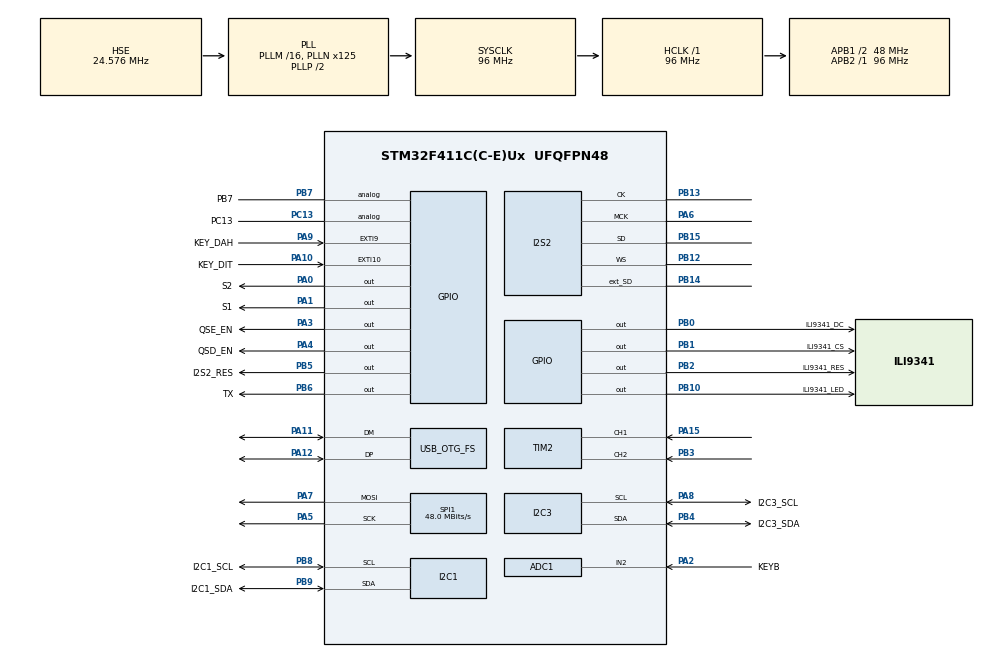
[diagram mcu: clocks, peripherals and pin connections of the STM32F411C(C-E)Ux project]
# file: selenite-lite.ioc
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ADC1.Channel-0\#ChannelRegularConversion=ADC_CHANNEL_2
ADC1.NbrOfConversionFlag=1
ADC1.Rank-0\#ChannelRegularConversion=1
ADC1.SamplingTime-0\#ChannelRegularConversion=ADC_SAMPLETIME_480CYCLES
ADC1.master=1
Dma.I2S2_EXT_RX.0.Direction=DMA_PERIPH_TO_MEMORY
Dma.I2S2_EXT_RX.0.FIFOMode=DMA_FIFOMODE_ENABLE
Dma.I2S2_EXT_RX.0.FIFOThreshold=DMA_FIFO_THRESHOLD_FULL
Dma.I2S2_EXT_RX.0.Instance=DMA1_Stream3
Dma.I2S2_EXT_RX.0.MemBurst=DMA_MBURST_INC8
Dma.I2S2_EXT_RX.0.MemDataAlignment=DMA_MDATAALIGN_HALFWORD
Dma.I2S2_EXT_RX.0.MemInc=DMA_MINC_ENABLE
Dma.I2S2_EXT_RX.0.Mode=DMA_CIRCULAR
Dma.I2S2_EXT_RX.0.PeriphBurst=DMA_PBURST_SINGLE
Dma.I2S2_EXT_RX.0.PeriphDataAlignment=DMA_PDATAALIGN_HALFWORD
Dma.I2S2_EXT_RX.0.PeriphInc=DMA_PINC_DISABLE
Dma.I2S2_EXT_RX.0.Priority=DMA_PRIORITY_VERY_HIGH
Dma.MEMTOMEM.3.Direction=DMA_MEMORY_TO_MEMORY
Dma.MEMTOMEM.3.FIFOMode=DMA_FIFOMODE_ENABLE
Dma.MEMTOMEM.3.FIFOThreshold=DMA_FIFO_THRESHOLD_FULL
Dma.MEMTOMEM.3.Instance=DMA2_Stream0
Dma.MEMTOMEM.3.MemBurst=DMA_MBURST_SINGLE
Dma.MEMTOMEM.3.MemDataAlignment=DMA_MDATAALIGN_WORD
Dma.MEMTOMEM.3.MemInc=DMA_MINC_ENABLE
Dma.MEMTOMEM.3.Mode=DMA_NORMAL
Dma.MEMTOMEM.3.PeriphBurst=DMA_PBURST_SINGLE
Dma.MEMTOMEM.3.PeriphDataAlignment=DMA_PDATAALIGN_WORD
Dma.MEMTOMEM.3.PeriphInc=DMA_PINC_ENABLE
Dma.MEMTOMEM.3.Priority=DMA_PRIORITY_LOW
Dma.Request0=I2S2_EXT_RX
Dma.Request1=SPI2_TX
Dma.Request2=SPI1_TX
Dma.Request3=MEMTOMEM
Dma.SPI1_TX.2.Direction=DMA_MEMORY_TO_PERIPH
Dma.SPI1_TX.2.FIFOMode=DMA_FIFOMODE_DISABLE
Dma.SPI1_TX.2.Instance=DMA2_Stream2
Dma.SPI1_TX.2.MemDataAlignment=DMA_MDATAALIGN_HALFWORD
Dma.SPI1_TX.2.MemInc=DMA_MINC_ENABLE
Dma.SPI1_TX.2.Mode=DMA_NORMAL
Dma.SPI1_TX.2.PeriphDataAlignment=DMA_PDATAALIGN_HALFWORD
Dma.SPI1_TX.2.PeriphInc=DMA_PINC_DISABLE
Dma.SPI1_TX.2.Priority=DMA_PRIORITY_LOW
Dma.SPI2_TX.1.Direction=DMA_MEMORY_TO_PERIPH
Dma.SPI2_TX.1.FIFOMode=DMA_FIFOMODE_ENABLE
Dma.SPI2_TX.1.FIFOThreshold=DMA_FIFO_THRESHOLD_FULL
Dma.SPI2_TX.1.Instance=DMA1_Stream4
Dma.SPI2_TX.1.MemBurst=DMA_MBURST_INC8
Dma.SPI2_TX.1.MemDataAlignment=DMA_MDATAALIGN_HALFWORD
Dma.SPI2_TX.1.MemInc=DMA_MINC_ENABLE
Dma.SPI2_TX.1.Mode=DMA_CIRCULAR
Dma.SPI2_TX.1.PeriphBurst=DMA_PBURST_SINGLE
Dma.SPI2_TX.1.PeriphDataAlignment=DMA_PDATAALIGN_HALFWORD
Dma.SPI2_TX.1.PeriphInc=DMA_PINC_DISABLE
Dma.SPI2_TX.1.Priority=DMA_PRIORITY_VERY_HIGH
I2S2.AudioFreq=I2S_AUDIOFREQ_96K
I2S2.ErrorAudioFreq=0.0 %
I2S2.FullDuplexMode=I2S_FULLDUPLEXMODE_ENABLE
I2S2.Instance=SPI$Index
I2S2.RealAudioFreq=96.0 KHz
I2S2.VirtualMode=I2S_MODE_MASTER
Mcu.Family=STM32F4
Mcu.Name=STM32F411C(C-E)Ux
Mcu.Package=UFQFPN48
NVIC.ADC_IRQn=true\:4\:0\:true\:false\:true\:true\:true\:true
NVIC.DMA1_Stream3_IRQn=true\:0\:0\:false\:false\:true\:false\:true\:true
NVIC.DMA1_Stream4_IRQn=true\:0\:0\:false\:false\:true\:false\:true\:true
NVIC.DMA2_Stream0_IRQn=true\:4\:0\:true\:false\:true\:true\:true\:true
NVIC.DMA2_Stream2_IRQn=true\:4\:0\:true\:false\:true\:false\:true\:true
NVIC.EXTI15_10_IRQn=true\:3\:0\:true\:false\:true\:true\:true\:true
NVIC.EXTI9_5_IRQn=true\:3\:0\:true\:false\:true\:true\:true\:true
NVIC.OTG_FS_IRQn=true\:0\:0\:false\:false\:true\:true\:true\:true
NVIC.PriorityGroup=NVIC_PRIORITYGROUP_4
PA0-WKUP.GPIO_Label=S2
PA0-WKUP.GPIO_Speed=GPIO_SPEED_FREQ_HIGH
PA0-WKUP.Signal=GPIO_Output
PA1.GPIO_Label=S1
PA1.GPIO_Speed=GPIO_SPEED_FREQ_HIGH
PA1.Signal=GPIO_Output
PA10.GPIO_Label=KEY_DIT
PA10.GPIO_PuPd=GPIO_PULLUP
PA10.Signal=GPXTI10
PA11.Mode=Device_Only
PA11.Signal=USB_OTG_FS_DM
PA12.Mode=Device_Only
PA12.Signal=USB_OTG_FS_DP
PA13.Mode=Serial_Wire
PA13.Signal=SYS_JTMS-SWDIO
PA14.Mode=Serial_Wire
PA14.Signal=SYS_JTCK-SWCLK
PA15.GPIO_PuPd=GPIO_PULLUP
PA15.Signal=S_TIM2_CH1_ETR
PA2.GPIO_Label=KEYB
PA2.Signal=ADCx_IN2
PA3.GPIO_Label=QSE_EN
PA3.GPIO_Speed=GPIO_SPEED_FREQ_HIGH
PA3.PinState=GPIO_PIN_SET
PA3.Signal=GPIO_Output
PA4.GPIO_Label=QSD_EN
PA4.GPIO_Speed=GPIO_SPEED_FREQ_HIGH
PA4.PinState=GPIO_PIN_SET
PA4.Signal=GPIO_Output
PA5.Mode=TX_Only_Simplex_Unidirect_Master
PA5.Signal=SPI1_SCK
PA6.GPIO_Speed=GPIO_SPEED_FREQ_VERY_HIGH
PA6.Mode=Master_Clock_Activated
PA6.Signal=I2S2_MCK
PA7.Mode=TX_Only_Simplex_Unidirect_Master
PA7.Signal=SPI1_MOSI
PA8.GPIO_Label=I2C3_SCL
PA8.Mode=I2C
PA8.Signal=I2C3_SCL
PA9.GPIO_Label=KEY_DAH
PA9.GPIO_PuPd=GPIO_PULLUP
PA9.Signal=GPXTI9
PB0.GPIO_Label=ILI9341_DC
PB0.GPIO_Speed=GPIO_SPEED_FREQ_VERY_HIGH
PB0.PinState=GPIO_PIN_SET
PB0.Signal=GPIO_Output
PB1.GPIO_Label=ILI9341_CS
PB1.GPIO_Speed=GPIO_SPEED_FREQ_VERY_HIGH
PB1.PinState=GPIO_PIN_SET
PB1.Signal=GPIO_Output
PB10.GPIO_Label=ILI9341_LED
PB10.GPIO_Speed=GPIO_SPEED_FREQ_LOW
PB10.Signal=GPIO_Output
PB12.GPIO_Speed=GPIO_SPEED_FREQ_VERY_HIGH
PB12.Mode=Full_Duplex_Master
PB12.Signal=I2S2_WS
PB13.GPIO_Speed=GPIO_SPEED_FREQ_VERY_HIGH
PB13.Mode=Full_Duplex_Master
PB13.Signal=I2S2_CK
PB14.GPIO_Speed=GPIO_SPEED_FREQ_VERY_HIGH
PB14.Mode=Full_Duplex_Master
PB14.Signal=I2S2_ext_SD
PB15.GPIO_Speed=GPIO_SPEED_FREQ_VERY_HIGH
PB15.Mode=Full_Duplex_Master
PB15.Signal=I2S2_SD
PB2.GPIO_Label=ILI9341_RES
PB2.GPIO_Speed=GPIO_SPEED_FREQ_LOW
PB2.PinState=GPIO_PIN_SET
PB2.Signal=GPIO_Output
PB3.GPIO_PuPd=GPIO_PULLUP
PB3.Signal=S_TIM2_CH2
PB4.GPIO_Label=I2C3_SDA
PB4.Mode=I2C
PB4.Signal=I2C3_SDA
PB5.GPIO_Label=I2S2_RES
PB5.GPIO_Speed=GPIO_SPEED_FREQ_HIGH
PB5.PinState=GPIO_PIN_SET
PB5.Signal=GPIO_Output
PB6.GPIO_Label=TX
PB6.GPIO_Speed=GPIO_SPEED_FREQ_HIGH
PB6.PinState=GPIO_PIN_SET
PB6.Signal=GPIO_Output
PB7.GPIO_Label=PB7
PB7.Signal=GPIO_Analog
PB8.GPIO_Label=I2C1_SCL
PB8.Mode=I2C
PB8.Signal=I2C1_SCL
PB9.GPIO_Label=I2C1_SDA
PB9.GPIO_Pu=GPIO_NOPULL
PB9.Mode=I2C
PB9.Signal=I2C1_SDA
PC13-ANTI_TAMP.GPIO_Label=PC13
PC13-ANTI_TAMP.Signal=GPIO_Analog
PC14-OSC32_IN.Mode=LSE-External-Oscillator
PC14-OSC32_IN.Signal=RCC_OSC32_IN
PC15-OSC32_OUT.Mode=LSE-External-Oscillator
PC15-OSC32_OUT.Signal=RCC_OSC32_OUT
PH0\ -\ OSC_IN.Mode=HSE-External-Clock-Source
PH0\ -\ OSC_IN.Signal=RCC_OSC_IN
PH1\ -\ OSC_OUT.Mode=HSE-External-Clock-Source
PH1\ -\ OSC_OUT.Signal=RCC_OSC_OUT
ProjectManager.HeapSize=0x0
ProjectManager.StackSize=0x400
ProjectManager.TargetToolchain=STM32CubeIDE
RCC.48MHZClocksFreq_Value=48000000
RCC.AHBFreq_Value=96000000
RCC.APB1CLKDivider=RCC_HCLK_DIV2
RCC.APB1Freq_Value=48000000
RCC.APB1TimFreq_Value=96000000
RCC.APB2Freq_Value=96000000
RCC.APB2TimFreq_Value=96000000
RCC.CortexFreq_Value=96000000
RCC.DATA_CACHE_ENABLE=1
RCC.HCLKFreq_Value=96000000
RCC.HSE_VALUE=24576000
RCC.HSI_VALUE=16000000
RCC.INSTRUCTION_CACHE_ENABLE=1
RCC.PLLI2SN=128
RCC.PLLN=125
RCC.PLLSourceVirtual=RCC_PLLSOURCE_HSE
RCC.PREFETCH_ENABLE=1
RCC.PWR_Regulator_Voltage_Scale=PWR_REGULATOR_VOLTAGE_SCALE1
RCC.RCC_RTC_Clock_SourceVirtual=RCC_RTCCLKSOURCE_LSE
RCC.SYSCLKFreq_VALUE=96000000
RCC.SYSCLKSource=RCC_SYSCLKSOURCE_PLLCLK
RCC.VCOOutputFreq_Value=192000000
SH.ADCx_IN2.0=ADC1_IN2,IN2
SH.S_TIM2_CH1_ETR.0=TIM2_CH1,Encoder_Interface
SH.S_TIM2_CH2.0=TIM2_CH2,Encoder_Interface
SPI1.BaudRatePrescaler=SPI_BAUDRATEPRESCALER_2
SPI1.CalculateBaudRate=48.0 MBits/s
SPI1.DataSize=SPI_DATASIZE_8BIT
SPI1.Direction=SPI_DIRECTION_2LINES
SPI1.Mode=SPI_MODE_MASTER
SPI1.VirtualType=VM_MASTER
TIM2.EncoderMode=TIM_ENCODERMODE_TI12
USB_OTG_FS.VirtualMode=Device_Only
VP_RTC_VS_RTC_Activate.Mode=RTC_Enabled
VP_RTC_VS_RTC_Calendar.Mode=RTC_Calendar
board=custom

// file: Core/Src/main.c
/* USER CODE BEGIN Header */
/**
 ******************************************************************************
 * @file           : main.c
 * @brief          : Main program body
 ******************************************************************************
 * @attention
 *
 * Copyright (c) 2023 STMicroelectronics.
 * All rights reserved.
 *
 * This software is licensed under terms that can be found in the LICENSE file
 * in the root directory of this software component.
 * If no LICENSE file comes with this software, it is provided AS-IS.
 *
 ******************************************************************************
 */
/* USER CODE END Header */
#include "main.h"

/* USER CODE BEGIN Includes */

#include "bsp/board_api.h"
#include "rxtx_if.h"
#include "tusb.h"

/* USER CODE END Includes */

ADC_HandleTypeDef hadc1;

I2C_HandleTypeDef hi2c1;
I2C_HandleTypeDef hi2c3;

I2S_HandleTypeDef hi2s2;
DMA_HandleTypeDef hdma_i2s2_ext_rx;
DMA_HandleTypeDef hdma_spi2_tx;

RTC_HandleTypeDef hrtc;

SPI_HandleTypeDef hspi1;
DMA_HandleTypeDef hdma_spi1_tx;

TIM_HandleTypeDef htim2;

PCD_HandleTypeDef hpcd_USB_OTG_FS;

DMA_HandleTypeDef hdma_memtomem_dma2_stream0;
/* USER CODE BEGIN PV */

RTC_TimeTypeDef sTime;
RTC_DateTypeDef sDate;

/* USER CODE END PV */

void SystemClock_Config(void);
static void MX_GPIO_Init(void);
static void MX_DMA_Init(void);
static void MX_ADC1_Init(void);
static void MX_I2C1_Init(void);
static void MX_I2C3_Init(void);
static void MX_I2S2_Init(void);
static void MX_RTC_Init(void);
static void MX_TIM2_Init(void);
static void MX_SPI1_Init(void);
static void MX_USB_OTG_FS_PCD_Init(void);

/* USER CODE BEGIN 0 */

size_t board_get_unique_id(uint8_t id[], size_t max_len)
{
    uint32_t deviceserial0, deviceserial1, deviceserial2;

    deviceserial0 = HAL_GetUIDw0();
    deviceserial1 = HAL_GetUIDw1();
    deviceserial2 = HAL_GetUIDw2();
    deviceserial0 += deviceserial2;

    if (deviceserial0 != 0)
    {
        deviceserial0 = __REV(deviceserial0);
        memcpy(&id[0], &deviceserial0, 4);
        deviceserial1 = __REV(deviceserial1);
        memcpy(&id[4], &deviceserial1, 2);
        return 6;
    }
    return 0;
}

/* USER CODE END 0 */

int main(void)
{

  /* MCU Configuration--------------------------------------------------------*/

  /* Reset of all peripherals, Initializes the Flash interface and the Systick. */
  HAL_Init();

  /* USER CODE BEGIN Init */

    __HAL_RCC_GPIOA_CLK_ENABLE();
    __HAL_RCC_GPIOB_CLK_ENABLE();

    MX_I2C3_Init();
    HAL_Delay(200);

    /* Set HSE = 24.576 MHz from VFO */
    VFO_Init();
    HAL_Delay(200);

  /* USER CODE END Init */

  /* Configure the system clock */
  SystemClock_Config();

  /* Initialize all configured peripherals */
  MX_GPIO_Init();
  MX_DMA_Init();
  MX_ADC1_Init();
  MX_I2C1_Init();
  MX_I2C3_Init();
  MX_I2S2_Init();
  MX_RTC_Init();
  MX_TIM2_Init();
  MX_SPI1_Init();
  MX_USB_OTG_FS_PCD_Init();
  /* USER CODE BEGIN 2 */

    // SPI_1LINE_TX(&hspi1);
    __HAL_SPI_ENABLE(&hspi1);

    RXTX_Init();

  /* USER CODE END 2 */

  /* Infinite loop */
  /* USER CODE BEGIN WHILE */

    tud_init(BOARD_TUD_RHPORT);

    while (1)
    {
        RXTX_Handler();
        tud_task();
    /* USER CODE END WHILE */

    }
}

void SystemClock_Config(void)
{
  RCC_OscInitTypeDef RCC_OscInitStruct = {0};
  RCC_ClkInitTypeDef RCC_ClkInitStruct = {0};

  /** Configure the main internal regulator output voltage
  */
  __HAL_RCC_PWR_CLK_ENABLE();
  __HAL_PWR_VOLTAGESCALING_CONFIG(PWR_REGULATOR_VOLTAGE_SCALE1);

  /** Initializes the RCC Oscillators according to the specified parameters
  * in the RCC_OscInitTypeDef structure.
  */
  RCC_OscInitStruct.OscillatorType = RCC_OSCILLATORTYPE_HSE|RCC_OSCILLATORTYPE_LSE;
  RCC_OscInitStruct.HSEState = RCC_HSE_BYPASS;
  RCC_OscInitStruct.LSEState = RCC_LSE_ON;
  RCC_OscInitStruct.PLL.PLLState = RCC_PLL_ON;
  RCC_OscInitStruct.PLL.PLLSource = RCC_PLLSOURCE_HSE;
  RCC_OscInitStruct.PLL.PLLM = 16;
  RCC_OscInitStruct.PLL.PLLN = 125;
  RCC_OscInitStruct.PLL.PLLP = RCC_PLLP_DIV2;
  RCC_OscInitStruct.PLL.PLLQ = 4;
  if (HAL_RCC_OscConfig(&RCC_OscInitStruct) != HAL_OK)
  {
    Error_Handler();
  }

  /** Initializes the CPU, AHB and APB buses clocks
  */
  RCC_ClkInitStruct.ClockType = RCC_CLOCKTYPE_HCLK|RCC_CLOCKTYPE_SYSCLK
                              |RCC_CLOCKTYPE_PCLK1|RCC_CLOCKTYPE_PCLK2;
  RCC_ClkInitStruct.SYSCLKSource = RCC_SYSCLKSOURCE_PLLCLK;
  RCC_ClkInitStruct.AHBCLKDivider = RCC_SYSCLK_DIV1;
  RCC_ClkInitStruct.APB1CLKDivider = RCC_HCLK_DIV2;
  RCC_ClkInitStruct.APB2CLKDivider = RCC_HCLK_DIV1;

  if (HAL_RCC_ClockConfig(&RCC_ClkInitStruct, FLASH_LATENCY_3) != HAL_OK)
  {
    Error_Handler();
  }
}

static void MX_ADC1_Init(void)
{

  ADC_ChannelConfTypeDef sConfig = {0};

  /** Configure the global features of the ADC (Clock, Resolution, Data Alignment and number of conversion)
  */
  hadc1.Instance = ADC1;
  hadc1.Init.ClockPrescaler = ADC_CLOCK_SYNC_PCLK_DIV4;
  hadc1.Init.Resolution = ADC_RESOLUTION_12B;
  hadc1.Init.ScanConvMode = DISABLE;
  hadc1.Init.ContinuousConvMode = DISABLE;
  hadc1.Init.DiscontinuousConvMode = DISABLE;
  hadc1.Init.ExternalTrigConvEdge = ADC_EXTERNALTRIGCONVEDGE_NONE;
  hadc1.Init.ExternalTrigConv = ADC_SOFTWARE_START;
  hadc1.Init.DataAlign = ADC_DATAALIGN_RIGHT;
  hadc1.Init.NbrOfConversion = 1;
  hadc1.Init.DMAContinuousRequests = DISABLE;
  hadc1.Init.EOCSelection = ADC_EOC_SINGLE_CONV;
  if (HAL_ADC_Init(&hadc1) != HAL_OK)
  {
    Error_Handler();
  }

  /** Configure for the selected ADC regular channel its corresponding rank in the sequencer and its sample time.
  */
  sConfig.Channel = ADC_CHANNEL_2;
  sConfig.Rank = 1;
  sConfig.SamplingTime = ADC_SAMPLETIME_480CYCLES;
  if (HAL_ADC_ConfigChannel(&hadc1, &sConfig) != HAL_OK)
  {
    Error_Handler();
  }

}

static void MX_I2C1_Init(void)
{

  hi2c1.Instance = I2C1;
  hi2c1.Init.ClockSpeed = 100000;
  hi2c1.Init.DutyCycle = I2C_DUTYCYCLE_2;
  hi2c1.Init.OwnAddress1 = 0;
  hi2c1.Init.AddressingMode = I2C_ADDRESSINGMODE_7BIT;
  hi2c1.Init.DualAddressMode = I2C_DUALADDRESS_DISABLE;
  hi2c1.Init.OwnAddress2 = 0;
  hi2c1.Init.GeneralCallMode = I2C_GENERALCALL_DISABLE;
  hi2c1.Init.NoStretchMode = I2C_NOSTRETCH_DISABLE;
  if (HAL_I2C_Init(&hi2c1) != HAL_OK)
  {
    Error_Handler();
  }

}

static void MX_I2C3_Init(void)
{

  hi2c3.Instance = I2C3;
  hi2c3.Init.ClockSpeed = 100000;
  hi2c3.Init.DutyCycle = I2C_DUTYCYCLE_2;
  hi2c3.Init.OwnAddress1 = 0;
  hi2c3.Init.AddressingMode = I2C_ADDRESSINGMODE_7BIT;
  hi2c3.Init.DualAddressMode = I2C_DUALADDRESS_DISABLE;
  hi2c3.Init.OwnAddress2 = 0;
  hi2c3.Init.GeneralCallMode = I2C_GENERALCALL_DISABLE;
  hi2c3.Init.NoStretchMode = I2C_NOSTRETCH_DISABLE;
  if (HAL_I2C_Init(&hi2c3) != HAL_OK)
  {
    Error_Handler();
  }

}

static void MX_I2S2_Init(void)
{

  hi2s2.Instance = SPI2;
  hi2s2.Init.Mode = I2S_MODE_MASTER_TX;
  hi2s2.Init.Standard = I2S_STANDARD_PHILIPS;
  hi2s2.Init.DataFormat = I2S_DATAFORMAT_16B;
  hi2s2.Init.MCLKOutput = I2S_MCLKOUTPUT_ENABLE;
  hi2s2.Init.AudioFreq = I2S_AUDIOFREQ_96K;
  hi2s2.Init.CPOL = I2S_CPOL_LOW;
  hi2s2.Init.ClockSource = I2S_CLOCK_PLL;
  hi2s2.Init.FullDuplexMode = I2S_FULLDUPLEXMODE_ENABLE;
  if (HAL_I2S_Init(&hi2s2) != HAL_OK)
  {
    Error_Handler();
  }

}

static void MX_RTC_Init(void)
{

  RTC_TimeTypeDef sTime = {0};
  RTC_DateTypeDef sDate = {0};

  /** Initialize RTC Only
  */
  hrtc.Instance = RTC;
  hrtc.Init.HourFormat = RTC_HOURFORMAT_24;
  hrtc.Init.AsynchPrediv = 127;
  hrtc.Init.SynchPrediv = 255;
  hrtc.Init.OutPut = RTC_OUTPUT_DISABLE;
  hrtc.Init.OutPutPolarity = RTC_OUTPUT_POLARITY_HIGH;
  hrtc.Init.OutPutType = RTC_OUTPUT_TYPE_OPENDRAIN;
  if (HAL_RTC_Init(&hrtc) != HAL_OK)
  {
    Error_Handler();
  }

  /* USER CODE BEGIN Check_RTC_BKUP */

    /* Check for backup domain is working */
    if (HAL_RTCEx_BKUPRead(&hrtc, RTC_BKP_DR1) == 0U)
    {
  /* USER CODE END Check_RTC_BKUP */

  /** Initialize RTC and set the Time and Date
  */
  sTime.Hours = 0x0;
  sTime.Minutes = 0x0;
  sTime.Seconds = 0x0;
  sTime.DayLightSaving = RTC_DAYLIGHTSAVING_NONE;
  sTime.StoreOperation = RTC_STOREOPERATION_RESET;
  if (HAL_RTC_SetTime(&hrtc, &sTime, RTC_FORMAT_BCD) != HAL_OK)
  {
    Error_Handler();
  }
  sDate.WeekDay = RTC_WEEKDAY_MONDAY;
  sDate.Month = RTC_MONTH_JANUARY;
  sDate.Date = 0x1;
  sDate.Year = 0x0;

  if (HAL_RTC_SetDate(&hrtc, &sDate, RTC_FORMAT_BCD) != HAL_OK)
  {
    Error_Handler();
  }
  /* USER CODE BEGIN RTC_Init 2 */

        HAL_RTCEx_BKUPWrite(&hrtc, RTC_BKP_DR1, 0x80000000U);
        /* Write to RTC_BKP_DR1 if the register is empty */
    }
  /* USER CODE END RTC_Init 2 */

}

static void MX_SPI1_Init(void)
{

  /* SPI1 parameter configuration*/
  hspi1.Instance = SPI1;
  hspi1.Init.Mode = SPI_MODE_MASTER;
  hspi1.Init.Direction = SPI_DIRECTION_2LINES;
  hspi1.Init.DataSize = SPI_DATASIZE_8BIT;
  hspi1.Init.CLKPolarity = SPI_POLARITY_LOW;
  hspi1.Init.CLKPhase = SPI_PHASE_1EDGE;
  hspi1.Init.NSS = SPI_NSS_SOFT;
  hspi1.Init.BaudRatePrescaler = SPI_BAUDRATEPRESCALER_2;
  hspi1.Init.FirstBit = SPI_FIRSTBIT_MSB;
  hspi1.Init.TIMode = SPI_TIMODE_DISABLE;
  hspi1.Init.CRCCalculation = SPI_CRCCALCULATION_DISABLE;
  hspi1.Init.CRCPolynomial = 10;
  if (HAL_SPI_Init(&hspi1) != HAL_OK)
  {
    Error_Handler();
  }

}

static void MX_TIM2_Init(void)
{

  TIM_Encoder_InitTypeDef sConfig = {0};
  TIM_MasterConfigTypeDef sMasterConfig = {0};

  htim2.Instance = TIM2;
  htim2.Init.Prescaler = 0;
  htim2.Init.CounterMode = TIM_COUNTERMODE_UP;
  htim2.Init.Period = 4294967295;
  htim2.Init.ClockDivision = TIM_CLOCKDIVISION_DIV1;
  htim2.Init.AutoReloadPreload = TIM_AUTORELOAD_PRELOAD_DISABLE;
  sConfig.EncoderMode = TIM_ENCODERMODE_TI12;
  sConfig.IC1Polarity = TIM_ICPOLARITY_RISING;
  sConfig.IC1Selection = TIM_ICSELECTION_DIRECTTI;
  sConfig.IC1Prescaler = TIM_ICPSC_DIV1;
  sConfig.IC1Filter = 0;
  sConfig.IC2Polarity = TIM_ICPOLARITY_RISING;
  sConfig.IC2Selection = TIM_ICSELECTION_DIRECTTI;
  sConfig.IC2Prescaler = TIM_ICPSC_DIV1;
  sConfig.IC2Filter = 0;
  if (HAL_TIM_Encoder_Init(&htim2, &sConfig) != HAL_OK)
  {
    Error_Handler();
  }
  sMasterConfig.MasterOutputTrigger = TIM_TRGO_RESET;
  sMasterConfig.MasterSlaveMode = TIM_MASTERSLAVEMODE_DISABLE;
  if (HAL_TIMEx_MasterConfigSynchronization(&htim2, &sMasterConfig) != HAL_OK)
  {
    Error_Handler();
  }

}

static void MX_USB_OTG_FS_PCD_Init(void)
{

  hpcd_USB_OTG_FS.Instance = USB_OTG_FS;
  hpcd_USB_OTG_FS.Init.dev_endpoints = 4;
  hpcd_USB_OTG_FS.Init.speed = PCD_SPEED_FULL;
  hpcd_USB_OTG_FS.Init.dma_enable = DISABLE;
  hpcd_USB_OTG_FS.Init.phy_itface = PCD_PHY_EMBEDDED;
  hpcd_USB_OTG_FS.Init.Sof_enable = DISABLE;
  hpcd_USB_OTG_FS.Init.low_power_enable = DISABLE;
  hpcd_USB_OTG_FS.Init.lpm_enable = DISABLE;
  hpcd_USB_OTG_FS.Init.vbus_sensing_enable = DISABLE;
  hpcd_USB_OTG_FS.Init.use_dedicated_ep1 = DISABLE;
  if (HAL_PCD_Init(&hpcd_USB_OTG_FS) != HAL_OK)
  {
    Error_Handler();
  }

}

static void MX_DMA_Init(void)
{

  /* DMA controller clock enable */
  __HAL_RCC_DMA1_CLK_ENABLE();
  __HAL_RCC_DMA2_CLK_ENABLE();

  /* Configure DMA request hdma_memtomem_dma2_stream0 on DMA2_Stream0 */
  hdma_memtomem_dma2_stream0.Instance = DMA2_Stream0;
  hdma_memtomem_dma2_stream0.Init.Channel = DMA_CHANNEL_0;
  hdma_memtomem_dma2_stream0.Init.Direction = DMA_MEMORY_TO_MEMORY;
  hdma_memtomem_dma2_stream0.Init.PeriphInc = DMA_PINC_ENABLE;
  hdma_memtomem_dma2_stream0.Init.MemInc = DMA_MINC_ENABLE;
  hdma_memtomem_dma2_stream0.Init.PeriphDataAlignment = DMA_PDATAALIGN_WORD;
  hdma_memtomem_dma2_stream0.Init.MemDataAlignment = DMA_MDATAALIGN_WORD;
  hdma_memtomem_dma2_stream0.Init.Mode = DMA_NORMAL;
  hdma_memtomem_dma2_stream0.Init.Priority = DMA_PRIORITY_LOW;
  hdma_memtomem_dma2_stream0.Init.FIFOMode = DMA_FIFOMODE_ENABLE;
  hdma_memtomem_dma2_stream0.Init.FIFOThreshold = DMA_FIFO_THRESHOLD_FULL;
  hdma_memtomem_dma2_stream0.Init.MemBurst = DMA_MBURST_SINGLE;
  hdma_memtomem_dma2_stream0.Init.PeriphBurst = DMA_PBURST_SINGLE;
  if (HAL_DMA_Init(&hdma_memtomem_dma2_stream0) != HAL_OK)
  {
    Error_Handler( );
  }

  /* DMA interrupt init */
  /* DMA1_Stream3_IRQn interrupt configuration */
  HAL_NVIC_SetPriority(DMA1_Stream3_IRQn, 0, 0);
  HAL_NVIC_EnableIRQ(DMA1_Stream3_IRQn);
  /* DMA1_Stream4_IRQn interrupt configuration */
  HAL_NVIC_SetPriority(DMA1_Stream4_IRQn, 0, 0);
  HAL_NVIC_EnableIRQ(DMA1_Stream4_IRQn);
  /* DMA2_Stream0_IRQn interrupt configuration */
  HAL_NVIC_SetPriority(DMA2_Stream0_IRQn, 4, 0);
  HAL_NVIC_EnableIRQ(DMA2_Stream0_IRQn);
  /* DMA2_Stream2_IRQn interrupt configuration */
  HAL_NVIC_SetPriority(DMA2_Stream2_IRQn, 4, 0);
  HAL_NVIC_EnableIRQ(DMA2_Stream2_IRQn);

}

static void MX_GPIO_Init(void)
{
  GPIO_InitTypeDef GPIO_InitStruct = {0};

  /* GPIO Ports Clock Enable */
  __HAL_RCC_GPIOC_CLK_ENABLE();
  __HAL_RCC_GPIOH_CLK_ENABLE();
  __HAL_RCC_GPIOA_CLK_ENABLE();
  __HAL_RCC_GPIOB_CLK_ENABLE();

  /*Configure GPIO pin Output Level */
  HAL_GPIO_WritePin(GPIOA, S2_Pin|S1_Pin, GPIO_PIN_RESET);

  /*Configure GPIO pin Output Level */
  HAL_GPIO_WritePin(GPIOA, QSE_EN_Pin|QSD_EN_Pin, GPIO_PIN_SET);

  /*Configure GPIO pin Output Level */
  HAL_GPIO_WritePin(GPIOB, ILI9341_DC_Pin|ILI9341_CS_Pin|ILI9341_RES_Pin|I2S2_RES_Pin
                          |TX_Pin, GPIO_PIN_SET);

  /*Configure GPIO pin Output Level */
  HAL_GPIO_WritePin(ILI9341_LED_GPIO_Port, ILI9341_LED_Pin, GPIO_PIN_RESET);

  /*Configure GPIO pin : PC13_Pin */
  GPIO_InitStruct.Pin = PC13_Pin;
  GPIO_InitStruct.Mode = GPIO_MODE_ANALOG;
  GPIO_InitStruct.Pull = GPIO_NOPULL;
  HAL_GPIO_Init(PC13_GPIO_Port, &GPIO_InitStruct);

  /*Configure GPIO pins : S2_Pin S1_Pin QSE_EN_Pin QSD_EN_Pin */
  GPIO_InitStruct.Pin = S2_Pin|S1_Pin|QSE_EN_Pin|QSD_EN_Pin;
  GPIO_InitStruct.Mode = GPIO_MODE_OUTPUT_PP;
  GPIO_InitStruct.Pull = GPIO_NOPULL;
  GPIO_InitStruct.Speed = GPIO_SPEED_FREQ_HIGH;
  HAL_GPIO_Init(GPIOA, &GPIO_InitStruct);

  /*Configure GPIO pins : ILI9341_DC_Pin ILI9341_CS_Pin */
  GPIO_InitStruct.Pin = ILI9341_DC_Pin|ILI9341_CS_Pin;
  GPIO_InitStruct.Mode = GPIO_MODE_OUTPUT_PP;
  GPIO_InitStruct.Pull = GPIO_NOPULL;
  GPIO_InitStruct.Speed = GPIO_SPEED_FREQ_VERY_HIGH;
  HAL_GPIO_Init(GPIOB, &GPIO_InitStruct);

  /*Configure GPIO pins : ILI9341_RES_Pin ILI9341_LED_Pin */
  GPIO_InitStruct.Pin = ILI9341_RES_Pin|ILI9341_LED_Pin;
  GPIO_InitStruct.Mode = GPIO_MODE_OUTPUT_PP;
  GPIO_InitStruct.Pull = GPIO_NOPULL;
  GPIO_InitStruct.Speed = GPIO_SPEED_FREQ_LOW;
  HAL_GPIO_Init(GPIOB, &GPIO_InitStruct);

  /*Configure GPIO pins : KEY_DAH_Pin KEY_DIT_Pin */
  GPIO_InitStruct.Pin = KEY_DAH_Pin|KEY_DIT_Pin;
  GPIO_InitStruct.Mode = GPIO_MODE_IT_RISING;
  GPIO_InitStruct.Pull = GPIO_PULLUP;
  HAL_GPIO_Init(GPIOA, &GPIO_InitStruct);

  /*Configure GPIO pins : I2S2_RES_Pin TX_Pin */
  GPIO_InitStruct.Pin = I2S2_RES_Pin|TX_Pin;
  GPIO_InitStruct.Mode = GPIO_MODE_OUTPUT_PP;
  GPIO_InitStruct.Pull = GPIO_NOPULL;
  GPIO_InitStruct.Speed = GPIO_SPEED_FREQ_HIGH;
  HAL_GPIO_Init(GPIOB, &GPIO_InitStruct);

  /*Configure GPIO pin : PB7_Pin */
  GPIO_InitStruct.Pin = PB7_Pin;
  GPIO_InitStruct.Mode = GPIO_MODE_ANALOG;
  GPIO_InitStruct.Pull = GPIO_NOPULL;
  HAL_GPIO_Init(PB7_GPIO_Port, &GPIO_InitStruct);

  /* EXTI interrupt init*/
  HAL_NVIC_SetPriority(EXTI9_5_IRQn, 3, 0);
  HAL_NVIC_EnableIRQ(EXTI9_5_IRQn);

  HAL_NVIC_SetPriority(EXTI15_10_IRQn, 3, 0);
  HAL_NVIC_EnableIRQ(EXTI15_10_IRQn);

}

void Error_Handler(void)
{
  /* USER CODE BEGIN Error_Handler_Debug */
    /* User can add his own implementation to report the HAL error return state */

    __disable_irq();
    __BKPT(0);
    while (1)
    {
        __NOP();
    }
  /* USER CODE END Error_Handler_Debug */
}
